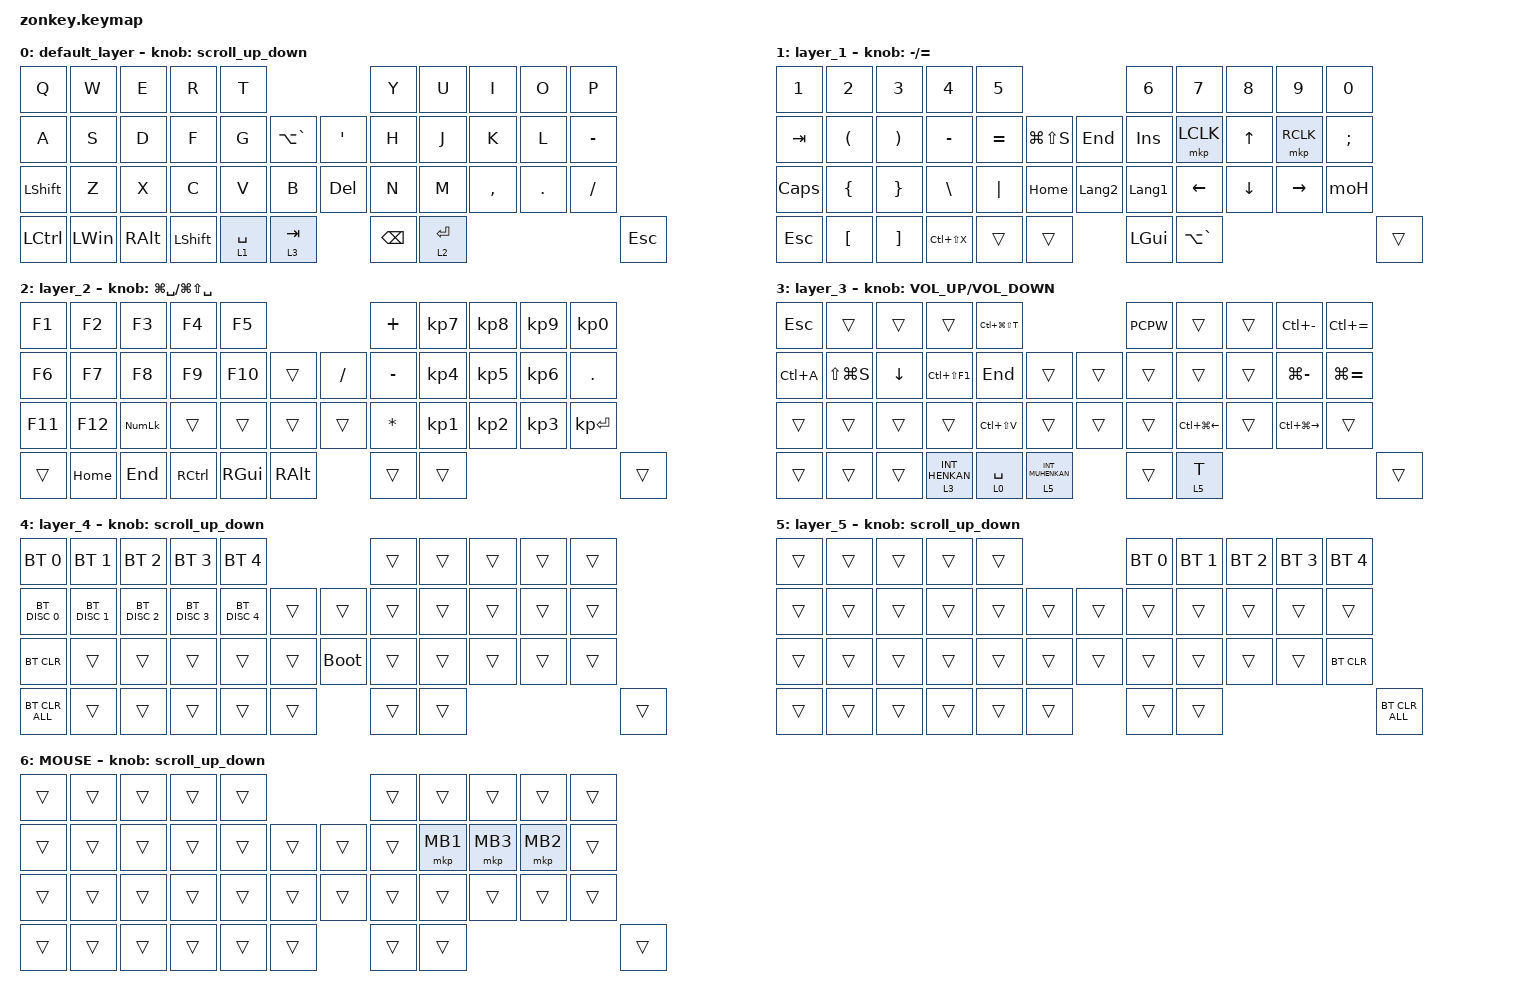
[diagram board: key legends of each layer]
#include <physical_layouts.dtsi>
#include <behaviors.dtsi>
#include <dt-bindings/zmk/bt.h>
#include <dt-bindings/zmk/keys.h>
#include <dt-bindings/zmk/pointing.h>

#define ZMK_POINTING_DEFAULT_SCRL_VAL 100
#define DFb 0
#define JIS 1
#define BT 4
#define MOUSE 6
#define JP_DQUOTE       AT                // "
#define JP_AMPERSAND    CARET             // &
#define JP_QUOTE        AMPERSAND         // '
#define JP_EQUAL        UNDER             // =
#define JP_CARET        EQUAL             // ^
#define JP_YEN          0x89              // ¥
#define JP_PLUS         COLON             // +
#define JP_TILDE        PLUS              // ~
#define JP_PIPE         LS(0x89)          // |
#define JP_AT           LEFT_BRACKET      // @
#define JP_COLON        SINGLE_QUOTE      // :
#define JP_ASTERISK     DOUBLE_QUOTES     // *
#define JP_BACKQUOTE    LEFT_BRACE        // `
#define JP_UNDERSCORE   LS(0x87)          // _
#define JP_LBRACKET     RIGHT_BRACKET     // [
#define JP_RBRACKET     BACKSLASH         // ]
#define JP_LPAREN       ASTERISK          // (
#define JP_RPAREN       LEFT_PARENTHESIS  // )
#define JP_LBRACE       RIGHT_BRACE       // {
#define JP_RBRACE       PIPE              // }
#define JP_KANA         LANGUAGE_1        // かな
#define JP_EISU         LANGUAGE_2        // 英数
#define JP_HANZEN       GRAVE             // 半角/全角
#define JP_BSLH  INT1         // (backslash)

&mt {
    flavor = "balanced";
    quick-tap-ms = <0>;
};

/ {
    combos { compatible = "zmk,combos"; };

    macros {
        to_layer_0: to_layer_0 {
            compatible = "zmk,behavior-macro-one-param";
            #binding-cells = <1>;
            bindings = <&to 0 &macro_param_1to1 &kp MACRO_PLACEHOLDER>;
            label = "TO_LAYER_0";
        };

        PCPW: PCPW {
            compatible = "zmk,behavior-macro";
            #binding-cells = <0>;
            bindings = <&none &kp LS(D) &kp N &kp A &kp W &kp O &kp D &kp E &kp N1 &kp N2 &kp N3 &kp RET>;
            label = "PCPW";
        };
    };

    behaviors {
        lt_to_layer_0: lt_to_layer_0 {
            compatible = "zmk,behavior-hold-tap";
            label = "LAYER_TAP_TO_0";
            bindings = <&mo>, <&to_layer_0>;

            #binding-cells = <2>;
            tapping-term-ms = <200>;
        };

        mo2: mo2 {
            compatible = "zmk,behavior-mod-morph";
            #binding-cells = <0>;
            bindings = <&kp N2>, <&kp AT>;

            mods = <(MOD_LSFT|MOD_RSFT)>;
        };

        mo6: mo6 {
            compatible = "zmk,behavior-mod-morph";
            #binding-cells = <0>;
            bindings = <&kp N6>, <&kp CARET>;

            mods = <(MOD_LSFT|MOD_RSFT)>;
        };

        mo7: mo7 {
            compatible = "zmk,behavior-mod-morph";
            #binding-cells = <0>;
            bindings = <&kp N7>, <&kp AMPS>;

            mods = <(MOD_LSFT|MOD_RSFT)>;
        };

        mo8: mo8 {
            compatible = "zmk,behavior-mod-morph";
            #binding-cells = <0>;
            bindings = <&kp N8>, <&kp ASTRK>;

            mods = <(MOD_LSFT|MOD_RSFT)>;
        };

        mo9: mo9 {
            compatible = "zmk,behavior-mod-morph";
            #binding-cells = <0>;
            bindings = <&kp N9>, <&kp LPAR>;

            mods = <(MOD_LSFT|MOD_RSFT)>;
        };

        mo0: mo0 {
            compatible = "zmk,behavior-mod-morph";
            #binding-cells = <0>;
            bindings = <&kp N0>, <&kp LS(N9)>;

            mods = <(MOD_LSFT|MOD_RSFT)>;
        };

        moA: moA {
            compatible = "zmk,behavior-mod-morph";
            #binding-cells = <0>;
            bindings = <&kp MINUS>, <&kp UNDERSCORE>;

            mods = <(MOD_LSFT|MOD_RSFT)>;
        };

        moB: moB {
            compatible = "zmk,behavior-mod-morph";
            #binding-cells = <0>;
            bindings = <&kp EQUAL>, <&kp PLUS>;

            mods = <(MOD_LSFT|MOD_RSFT)>;
        };

        moC: moC {
            compatible = "zmk,behavior-mod-morph";
            #binding-cells = <0>;
            bindings = <&kp INT3>, <&kp JP_PIPE>;

            mods = <(MOD_LSFT|MOD_RSFT)>;
        };

        moD: moD {
            compatible = "zmk,behavior-mod-morph";
            #binding-cells = <0>;
            bindings = <&kp LBKT>, <&kp LBRC>;

            mods = <(MOD_LSFT|MOD_RSFT)>;
        };

        moE: moE {
            compatible = "zmk,behavior-mod-morph";
            #binding-cells = <0>;
            bindings = <&kp RBKT>, <&kp RBRC>;

            mods = <(MOD_LSFT|MOD_RSFT)>;
        };

        moF: moF {
            compatible = "zmk,behavior-mod-morph";
            #binding-cells = <0>;
            bindings = <&kp SEMI>, <&kp KP_PLUS>;

            mods = <(MOD_LSFT|MOD_RSFT)>;
        };

        moG: moG {
            compatible = "zmk,behavior-mod-morph";
            #binding-cells = <0>;
            bindings = <&kp APOSTROPHE>, <&kp DQT>;

            mods = <(MOD_LSFT|MOD_RSFT)>;
        };

        moH: moH {
            compatible = "zmk,behavior-mod-morph";
            #binding-cells = <0>;
            bindings = <&kp BACKSLASH>, <&kp TILDE2>;

            mods = <(MOD_LSFT|MOD_RSFT)>;
        };

        moI: moI {
            compatible = "zmk,behavior-mod-morph";
            #binding-cells = <0>;
            bindings = <&kp JP_BSLH>, <&kp JP_UNDERSCORE>;

            mods = <(MOD_LSFT|MOD_RSFT)>;
        };

        scroll_up_down: behavior_sensor_rotate_mouse_wheel_up_down {
            compatible = "zmk,behavior-sensor-rotate";
            #sensor-binding-cells = <0>;
            bindings = <&msc SCRL_UP>, <&msc SCRL_DOWN>;

            tap-ms = <20>;
        };
    };

    keymap {
        compatible = "zmk,keymap";

        default_layer {
            bindings = <
&kp Q           &kp W         &kp E          &kp R           &kp T                                     &kp Y          &kp U        &kp I      &kp O    &kp P
&kp A           &kp S         &kp D          &kp F           &kp G        &kp LA(GRAVE)    &kp SQT     &kp H          &kp J        &kp K      &kp L    &kp MINUS
&kp LEFT_SHIFT  &kp Z         &kp X          &kp C           &kp V        &kp B            &kp DELETE  &kp N          &kp M        &kp COMMA  &kp DOT  &kp SLASH
&kp LCTRL       &kp LEFT_WIN  &kp RIGHT_ALT  &kp LEFT_SHIFT  &lt 1 SPACE  &lt 3 TAB                    &kp BACKSPACE  &lt 2 ENTER                                 &kp ESCAPE
            >;

            sensor-bindings = <&scroll_up_down>;
        };

        layer_1 {
            bindings = <
&kp NUMBER_1  &kp NUMBER_2          &kp NUMBER_3           &kp NUMBER_4   &kp N5                                   &kp NUMBER_6  &kp N7          &kp N8        &kp N9     &kp N0
&kp TAB       &kp LEFT_PARENTHESIS  &kp RIGHT_PARENTHESIS  &kp MINUS      &kp EQUAL  &kp LG(LS(S))    &kp END      &kp INS       &mkp LCLK       &kp UP_ARROW  &mkp RCLK  &kp SEMICOLON
&kp CAPS      &kp LEFT_BRACE        &kp RIGHT_BRACE        &kp BACKSLASH  &kp PIPE   &kp HOME         &kp JP_EISU  &kp JP_KANA   &kp LEFT_ARROW  &kp DOWN      &kp RIGHT  &moH
&kp ESCAPE    &kp LEFT_BRACKET      &kp RIGHT_BRACKET      &kp LC(LS(X))  &trans     &trans                        &kp LEFT_GUI  &kp LA(GRAVE)                                           &trans
            >;

            sensor-bindings = <&inc_dec_kp MINUS EQUAL>;
        };

        layer_2 {
            bindings = <
&kp F1   &kp F2    &kp F3          &kp F4     &kp F5                                     &kp PLUS      &kp KP_NUMBER_7  &kp KP_NUMBER_8  &kp KP_NUMBER_9  &kp KP_NUMBER_0
&kp F6   &kp F7    &kp F8          &kp F9     &kp F10        &trans           &kp SLASH  &kp MINUS     &kp KP_NUMBER_4  &kp KP_NUMBER_5  &kp KP_NUMBER_6  &kp PERIOD
&kp F11  &kp F12   &kp KP_NUMLOCK  &trans     &trans         &trans           &trans     &kp ASTERISK  &kp KP_NUMBER_1  &kp KP_NUMBER_2  &kp KP_NUMBER_3  &kp KP_ENTER
&trans   &kp HOME  &kp END         &kp RCTRL  &kp RIGHT_GUI  &kp RIGHT_ALT               &trans        &trans                                                              &trans
            >;

            sensor-bindings = <&inc_dec_kp LG(SPACE) LG(LS(SPACE))>;
        };

        layer_3 {
            bindings = <
&kp ESCAPE  &trans         &trans          &trans            &kp LC(LG(LS(T)))                                &PCPW   &trans            &trans  &kp LC(MINUS)      &kp LC(EQUAL)
&kp LC(A)   &kp LS(LG(S))  &kp DOWN_ARROW  &kp LC(LS(F1))    &kp END            &trans                &trans  &trans  &trans            &trans  &kp LG(MINUS)      &kp LG(EQUAL)
&trans      &trans         &trans          &trans            &kp LC(LS(V))      &trans                &trans  &trans  &kp LC(LG(LEFT))  &trans  &kp LC(LG(RIGHT))  &trans
&trans      &trans         &trans          &lt 3 INT_HENKAN  &lt 0 SPACE        &lt 5 INT_MUHENKAN            &trans  &lt 5 T                                                     &trans
            >;

            sensor-bindings = <&inc_dec_kp C_VOLUME_UP C_VOLUME_DOWN>;
        };

        layer_4 {
            bindings = <
&bt BT_SEL 0    &bt BT_SEL 1   &bt BT_SEL 2   &bt BT_SEL 3   &bt BT_SEL 4                          &trans  &trans  &trans  &trans  &trans
&bt BT_DISC 0   &bt BT_DISC 1  &bt BT_DISC 2  &bt BT_DISC 3  &bt BT_DISC 4  &trans    &trans       &trans  &trans  &trans  &trans  &trans
&bt BT_CLR      &trans         &trans         &trans         &trans         &trans    &bootloader  &trans  &trans  &trans  &trans  &trans
&bt BT_CLR_ALL  &trans         &trans         &trans         &trans         &trans                 &trans  &trans                          &trans
            >;

            sensor-bindings = <&scroll_up_down>;
        };

        layer_5 {
            bindings = <
&trans  &trans  &trans  &trans  &trans                    &bt BT_SEL 0  &bt BT_SEL 1  &bt BT_SEL 2  &bt BT_SEL 3  &bt BT_SEL 4
&trans  &trans  &trans  &trans  &trans  &trans    &trans  &trans        &trans        &trans        &trans        &trans
&trans  &trans  &trans  &trans  &trans  &trans    &trans  &trans        &trans        &trans        &trans        &bt BT_CLR
&trans  &trans  &trans  &trans  &trans  &trans            &trans        &trans                                                  &bt BT_CLR_ALL
            >;

            sensor-bindings = <&scroll_up_down>;
        };

        MOUSE {
            bindings = <
&trans  &trans  &trans  &trans  &trans                    &trans  &trans    &trans    &trans    &trans
&trans  &trans  &trans  &trans  &trans  &trans    &trans  &trans  &mkp MB1  &mkp MB3  &mkp MB2  &trans
&trans  &trans  &trans  &trans  &trans  &trans    &trans  &trans  &trans    &trans    &trans    &trans
&trans  &trans  &trans  &trans  &trans  &trans            &trans  &trans                                &trans
            >;

            sensor-bindings = <&scroll_up_down>;
        };
    };
};
